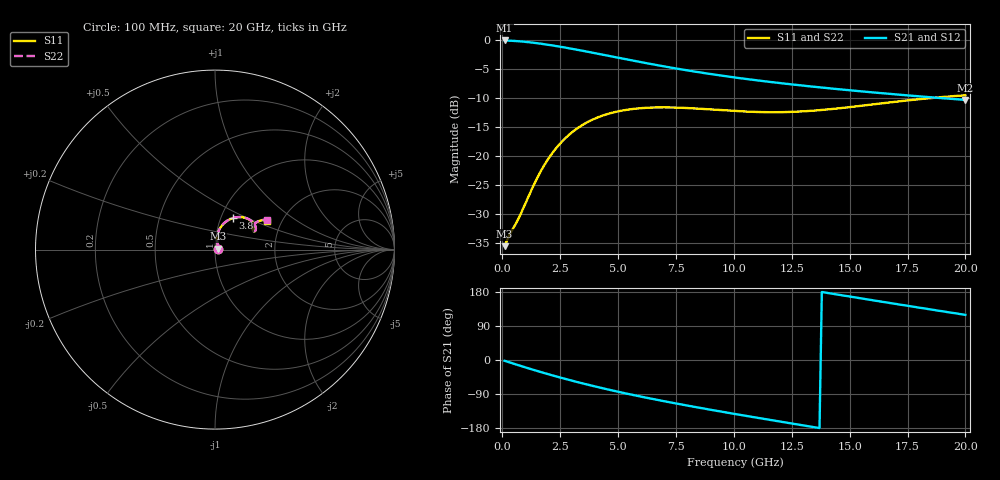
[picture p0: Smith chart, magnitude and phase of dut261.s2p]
! Touchstone file exported from HFSS 2024.1.0
!  File:  C:/UserFiles/LocalFiles/RDL_TSV_Batchsim/temp_RDL_TSV_261_1779459208.aedt
!  Generated:  10:30:30 PM May 22, 2026
!  Design:  RDL_TSV
!  Project:  temp_RDL_TSV_261_1779459208
!  Setup:  Setup1
!  Solution:  Sweep
! Variables:
!  dtsv = 8.52um
!  hbump = 3um
!  htsv = 59.13um
!  ldown = 643.8um
!  lrdl = 469.98um
!  p = 40
!  p1 = 53.38um
!  rhole = 10um
!  subl = 3811.32um
!  t = 450um
!  tdown = 2.8um
!  trdl = 4.51um
!  viad = 10um
!  wdown = 26.98um
!  wrdl = 24.84um
!  xbump = 18um
# GHz S MA R 50.000000
! Terminal data exported
! Port[1] = TM1_1_T1
! Port[2] = TM1_4_T1
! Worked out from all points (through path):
!   200 points, 100 MHz to 20 GHz, reference 50 ohm
!   highest |S21| = -0.14 dB at 100 MHz (marker M1); lowest = -10.4 dB at 20 GHz (marker M2)
!   group delay of S21, straight-line fit = 31.7 ps
!   lowest |S11| = -35.6 dB at 100 MHz (marker M3), VSWR 1.03, Z = 51.6 + j0.441 ohm
!   |S11| at or under -10 dB: start of sweep to 18.72 GHz
!   |S22| runs from -35.6 to -9.5 dB; largest |S21 - S12| = 6.6e-15
!   S11 on the Smith chart (normalised r, x): 100 MHz: 1.03, +0.01; 3.8 GHz: 1.14, +0.41; 20 GHz: 1.68, +0.61
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0.1  0.01656 15.0  0.9837 -2.1  0.9837 -2.1  0.01656 15.0
! Gamma 0 0 0 0
! Port Impedance 50 0 50 0
0.3  0.02046 33.1  0.9799 -6.1  0.9799 -6.1  0.02046 33.1
0.9  0.03489 66.7  0.9613 -17.7  0.9613 -17.7  0.03487 66.8
1.5  0.06369 80.0  0.9318 -28.8  0.9318 -28.8  0.06372 80.1
1.9  0.08829 80.5  0.908 -36.0  0.908 -36.0  0.08836 80.6
2.2  0.1078 78.7  0.8887 -41.2  0.8887 -41.2  0.1079 78.9
2.6  0.1337 75.0  0.8618 -47.9  0.8618 -47.9  0.1339 75.1
3  0.1582 70.4  0.8341 -54.4  0.8341 -54.4  0.1585 70.6
3.5  0.1857 64.4  0.7991 -62.2  0.7991 -62.2  0.186 64.5
3.8  0.2 60.8  0.7783 -66.8  0.7783 -66.8  0.2004 60.9
4.5  0.2269 52.9  0.7308 -76.9  0.7308 -76.9  0.2275 53.0
5.3  0.247 44.9  0.6798 -87.8  0.6798 -87.8  0.2477 45.0
6  0.2566 39.0  0.6389 -96.8  0.6389 -96.8  0.2573 39.1
6.8  0.2605 33.6  0.5968 -106.5  0.5968 -106.5  0.2613 33.7
8.4  0.2545 26.7  0.5268 -124.8  0.5268 -124.8  0.2553 26.8
10.1  0.2421 24.8  0.47 -143.0  0.47 -143.0  0.243 24.9
11.7  0.2366 26.8  0.4286 -159.5  0.4286 -159.5  0.2376 26.9
13.4  0.2437 30.4  0.3934 -176.6  0.3934 -176.6  0.2449 30.5
15.1  0.2631 32.9  0.3643 166.5  0.3643 166.5  0.2646 33.0
16.7  0.287 33.2  0.341 150.8  0.341 150.8  0.2888 33.3
18.3  0.3107 31.7  0.3207 135.3  0.3207 135.3  0.3128 31.9
20  0.3312 29.0  0.3022 119.1  0.3022 119.1  0.3336 29.2
